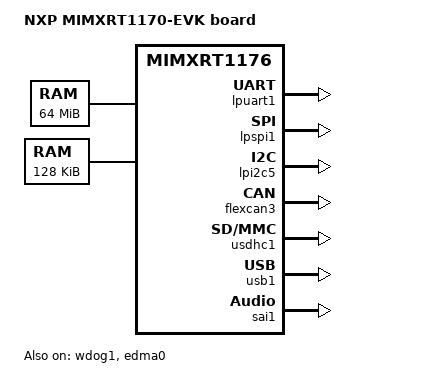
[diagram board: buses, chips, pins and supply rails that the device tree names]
// MIMXRT1170-EVKB Device Tree
// MIMXRT1170-EVKB 设备树
//
// 基于 Zephyr 的 mimxrt1170_evk 设备树配置移植

/dts-v1/;

/ {
    model = "NXP MIMXRT1170-EVK board";
    compatible = "nxp,mimxrt1176";

    // 内存定义
    // SDRAM (64MB)
    sdram0: memory@80000000 {
        device_type = "memory";
        reg = <0x80000000 0x4000000>;
    };

    // DTCM
    dtcm: memory@20000000 {
        device_type = "memory";
        reg = <0x20000000 0x20000>;
    };

    // SoC 节点定义
    soc {
        #address-cells = <1>;
        #size-cells = <1>;
        compatible = "nxp,imxrt1176";
        ranges;

        // LPUART1 串口节点定义
        lpuart1: serial@400c4000 {
            compatible = "nxp,lpuart";
            reg = <0x400c4000 0x4000>;
            interrupts = <19>;
            status = "okay";
        };

        // LPSPI1 总线节点定义
        lpspi1: spi@400d4000 {
            compatible = "nxp,lpspi";
            reg = <0x400d4000 0x4000>;
            interrupts = <17>;
            status = "okay";
        };

        // LPI2C5 总线节点定义
        lpi2c5: i2c@400f4000 {
            compatible = "nxp,lpi2c";
            reg = <0x400f4000 0x4000>;
            interrupts = <101>;
            status = "okay";
        };

        // FlexCAN3 控制器
        flexcan3: can@400d4000 {
            compatible = "nxp,flexcan";
            reg = <0x400d4000 0x4000>;
            interrupts = <54>;
            status = "okay";
        };

        // USDHC1 控制器
        usdhc1: sdhci@400b0000 {
            compatible = "nxp,usdhc";
            reg = <0x400b0000 0x40000>;
            interrupts = <93>;
            status = "okay";
        };

        // USB OTG1 控制器
        usb1: usb@400d0000 {
            compatible = "nxp,usb";
            reg = <0x400d0000 0x40000>;
            interrupts = <107>;
            status = "okay";
        };

        // WDOG1 看门狗
        wdog1: watchdog@400d8000 {
            compatible = "nxp,wdog";
            reg = <0x400d8000 0x4000>;
            interrupts = <22>;
            status = "okay";
        };

        // SAI1 音频接口
        sai1: sai@400d0000 {
            compatible = "nxp,sai";
            reg = <0x400d0000 0x4000>;
            interrupts = <30>;
            status = "okay";
        };

        // LCDIF 显示控制器
        lcdif: lcdif@400d0000 {
            compatible = "nxp,lcdif";
            reg = <0x400d0000 0x4000>;
            interrupts = <39>;
            status = "disabled";
        };

        // MIPI DSI 控制器
        mipi_dsi: mipi-dsi@400d0000 {
            compatible = "nxp,mipi-dsi";
            reg = <0x400d0000 0x4000>;
            interrupts = <40>;
            status = "disabled";
        };

        // EDMA0 控制器
        edma0: edma@400e8000 {
            compatible = "nxp,edma";
            reg = <0x400e8000 0x4000>;
            status = "okay";
        };
    };

    aliases {
        console = &lpuart1;
        serial0 = &lpuart1;
        watchdog0 = &wdog1;
        mipi-dsi = &mipi_dsi;
    };
};
